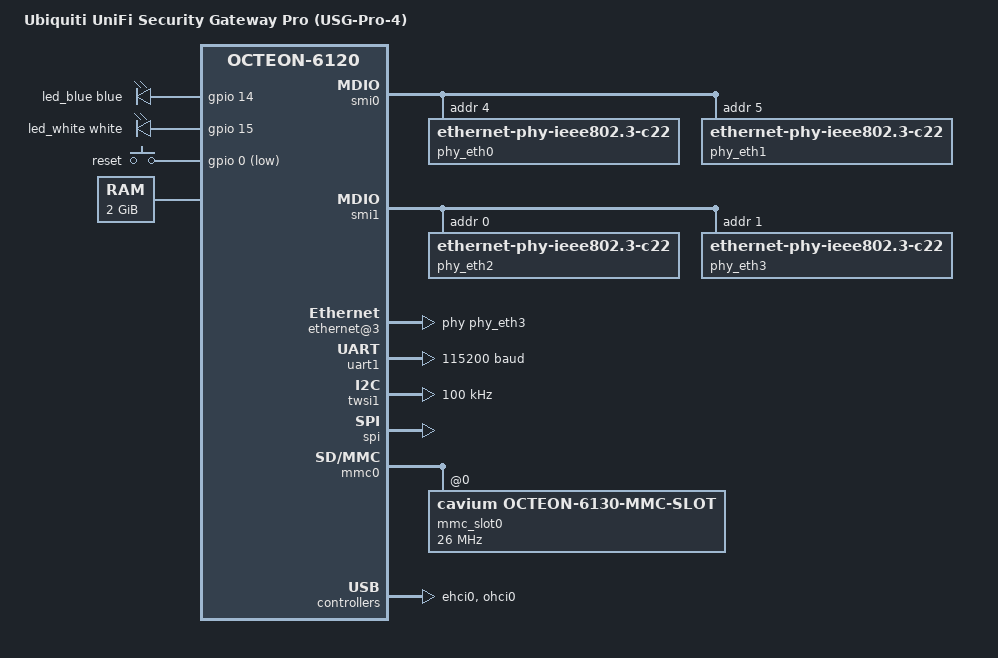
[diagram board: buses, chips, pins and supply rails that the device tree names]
// SPDX-License-Identifier: GPL-2.0-only
/*
 * Device tree source for Ubiquiti UniFi Security Gateway Pro (USG-Pro-4).
 *
 * Written by: Niko Huuskonen <niko.huuskonen.00@gmail.com>
 */

/include/ "octeon_3xxx.dtsi"
#include <dt-bindings/gpio/gpio.h>
#include <dt-bindings/input/input.h>
#include <dt-bindings/leds/common.h>

/* octeon,6120 is an Octeon II (CN61xx-class) part, which exposes USB via
 * EHCI/OHCI behind UCTL (defined below) - not the older 5750-generation
 * USBN/USBC OTG block the dtsi provides for CN5xxx-class chips. That block
 * doesn't correspond to real hardware on this SoC, so drop it rather than
 * leaving a dead node in the compiled tree.
 */

/delete-node/ &usbn;

/ {
	compatible = "ubnt,usg-pro-4", "cavium,octeon-6120";
	model = "Ubiquiti UniFi Security Gateway Pro (USG-Pro-4)";

	soc@0 {
		smi0: mdio@1180000001800 {
			phy_eth0: ethernet-phy@4 {
				compatible = "ethernet-phy-ieee802.3-c22";
				reg = <4>;
				interrupt-parent = <&gpio>;
			};

			phy_eth1: ethernet-phy@5 {
				compatible = "ethernet-phy-ieee802.3-c22";
				reg = <5>;
				interrupt-parent = <&gpio>;
			};
		};

		smi1: mdio@1180000001900 {
			compatible = "cavium,octeon-3860-mdio";
			reg = <0x11800 0x1900 0x00 0x40>;
			#address-cells = <1>;
			#size-cells = <0>;

			phy_eth2: ethernet-phy@0 {
				compatible = "ethernet-phy-ieee802.3-c22";
				reg = <0>;
				interrupt-parent = <&gpio>;
			};

			phy_eth3: ethernet-phy@1 {
				compatible = "ethernet-phy-ieee802.3-c22";
				reg = <1>;
				interrupt-parent = <&gpio>;
			};
		};

		pip: pip@11800a0000000 {
			interface@0 {
				ethernet@0 {
					phy-handle = <&phy_eth0>;
					rx-delay = <0>;
					tx-delay = <0x10>;
				};

				ethernet@1 {
					phy-handle = <&phy_eth1>;
					rx-delay = <0>;
					tx-delay = <0x10>;
				};

				ethernet@2 {
					phy-handle = <&phy_eth2>;
					rx-delay = <0>;
					tx-delay = <0x10>;
				};

				/* Port 3 does not exist in the dtsi - new port */
				ethernet@3 {
					compatible = "cavium,octeon-3860-pip-port";
					reg = <3>;
					phy-handle = <&phy_eth3>;
					rx-delay = <0>;
					tx-delay = <0x10>;
				};
			};
		};

		uart0: serial@1180000000800 {
			clock-frequency = <600000000>;
		};

		uart1: serial@1180000000c00 {
			compatible = "cavium,octeon-3860-uart", "ns16550";
			reg = <0x11800 0xc00 0x00 0x400>;
			reg-shift = <3>;
			clock-frequency = <600000000>;
			current-speed = <115200>;
			interrupts = <0 35>;
		};

		twsi1: i2c@1180000001200 {
			compatible = "cavium,octeon-3860-twsi";
			reg = <0x11800 0x1200 0x00 0x200>;
			#address-cells = <1>;
			#size-cells = <0>;
			clock-frequency = <100000>;
			interrupts = <0 59>;
		};

		spi: spi@1070000001000 {
			compatible = "cavium,octeon-3010-spi";
			reg = <0x10700 0x1000 0x00 0x100>;
			#address-cells = <1>;
			#size-cells = <0>;
			interrupts = <0 58>;
		};

		mmc0: mmc@1180000002000 {
			compatible = "cavium,octeon-6130-mmc";
			reg = <0x11800 0x2000 0x00 0x100 0x11800 0x168 0x00 0x20>;
			#address-cells = <1>;
			#size-cells = <0>;
			interrupts = <1 19 0 0x3f>;

			mmc_slot0:mmc-slot@0 {
				compatible = "cavium,octeon-6130-mmc-slot", "mmc-spi-slot";
				reg = <0>;
				spi-max-frequency = <26000000>;
				voltage-ranges = <3300 3300>;
				cavium,bus-max-width = <8>;
			};
		};

		/* Board-specific USB controller. Note this coexists with
		 * the dtsi's "usbn" node (different name/unit-address, so
		 * it isn't merged/replaced by this). If usbn is not present
		 * on this SoC variant, consider deleting it explicitly with
		 * /delete-node/ &usbn; to avoid a phantom, non-functional
		 * node in the compiled tree.
		 */

		uctl: uctl@118006f000000 {
			compatible = "cavium,octeon-6335-uctl";
			reg = <0x11800 0x6f000000 0x00 0x100>;
			#address-cells = <2>;
			#size-cells = <2>;
			ranges;
			refclk-frequency = <12000000>;
			refclk-type = "crystal";

			ehci0: ehci@16f0000000000 {
				compatible = "cavium,octeon-6335-ehci", "usb-ehci";
				reg = <0x16f00 0x00 0x00 0x100>;
				interrupts = <0 56>;
				big-endian-regs;
			};

			ohci0: ohci@16f0000000400 {
				compatible = "cavium,octeon-6335-ohci", "usb-ohci";
				reg = <0x16f00 0x400 0x00 0x100>;
				interrupts = <0 56>;
				big-endian-regs;
			};
		};

		bootbus: bootbus@1180000000000 {
			/* Values sourced from a live devicetree dump on this
			 * board's EdgeRouter Pro-based OpenWrt install, so
			 * kept verbatim even though several entries differ
			 * from the dtsi's generic ones. A DT property is
			 * replaced as a whole (not merged entry-by-entry), so
			 * the full list has to stay here rather than being
			 * trimmed to just the differing lines.
			 */

			ranges = <0 0  0x00 0x1f400000  0xc00000>,
			<1 0  0x00 0x10000     0x30000000>,
			<2 0  0x00 0x1d040000  0x10000>,
			<3 0  0x00 0x1d050000  0x10000>,
			<4 0  0x00 0x1d020000  0x10000>,
			<5 0  0x00 0x10000     0x40000000>,
			<6 0  0x00 0x10000     0x50000000>,
			<7 0  0x00 0x10000     0x90000000>;

			cavium,cs-config@0 {
				cavium,t-adr = <10>;
				cavium,t-ce = <50>;
				cavium,t-oe = <50>;
				cavium,t-we = <35>;
				cavium,t-rd-hld = <25>;
				cavium,t-wr-hld = <35>;
				cavium,t-wait = <300>;
				cavium,t-page = <25>;
			};

			/* cs2/cs3 do not exist in the dtsi - new chip selects */
			cavium,cs-config@2 {
				compatible = "cavium,octeon-3860-bootbus-config";
				cavium,cs-index = <2>;
				cavium,bus-width = <16>;
				cavium,t-adr = <0>;
				cavium,t-ce = <300>;
				cavium,t-oe = <125>;
				cavium,t-we = <150>;
				cavium,t-rd-hld = <100>;
				cavium,t-wr-hld = <300>;
				cavium,t-pause = <0>;
				cavium,t-wait = <300>;
				cavium,t-page = <300>;
				cavium,pages = <0>;
				cavium,t-rd-dly = <0>;
			};

			cavium,cs-config@3 {
				compatible = "cavium,octeon-3860-bootbus-config";
				cavium,cs-index = <3>;
				cavium,bus-width = <16>;
				cavium,t-adr = <0>;
				cavium,t-ce = <30>;
				cavium,t-oe = <125>;
				cavium,t-we = <150>;
				cavium,t-rd-hld = <100>;
				cavium,t-wr-hld = <30>;
				cavium,t-pause = <0>;
				cavium,t-wait = <30>;
				cavium,wait-mode;
				cavium,t-page = <300>;
				cavium,pages = <0>;
				cavium,t-rd-dly = <0>;
			};

			cavium,cs-config@4 {
				cavium,t-adr = <10>;
				cavium,t-ce = <10>;
				cavium,t-oe = <160>;
				cavium,t-we = <100>;
				cavium,t-rd-hld = <0>;
				cavium,t-wr-hld = <0>;
				cavium,t-pause = <50>;
				cavium,t-wait = <300>;
				cavium,t-page = <300>;
				cavium,t-rd-dly = <10>;
			};
		};
	};

	leds {
		compatible = "gpio-leds";

		led_blue: logo_blue {
			color = <LED_COLOR_ID_BLUE>;
			function = "logo";
			gpios = <&gpio 14 GPIO_ACTIVE_HIGH>;
			default-state = "off";
		};

		led_white: logo_white {
			color = <LED_COLOR_ID_WHITE>;
			function = "logo";
			gpios = <&gpio 15 GPIO_ACTIVE_HIGH>;
			default-state = "on";
		};
	};

	keys {
		compatible = "gpio-keys-polled";
		poll-interval = <20>;

		button-reset {
			label = "reset";
			linux,code = <KEY_RESTART>;
			gpios = <&gpio 0 GPIO_ACTIVE_LOW>;
			debounce-interval = <60>;
		};
	};

	aliases {
		flash0 = &flash0;
		gpio-controller = &gpio;
		led-boot = &led_white;
		led-failsafe = &led_white;
		led-running = &led_blue;
		led-upgrade = &led_blue;
		mmc0 = &mmc_slot0;
		pip = &pip;
		smi0 = &smi0;
		smi1 = &smi1;
		spi = &spi;
		twsi0 = &twsi0;
		twsi1 = &twsi1;
		uart0 = &uart0;
		uart1 = &uart1;
	};

	memory@0 {
		device_type = "memory";
		reg = <0x00 0x00 0x00 0x10000000 0x00 0x20000000 0x00 0x70000000>;
	};
};
